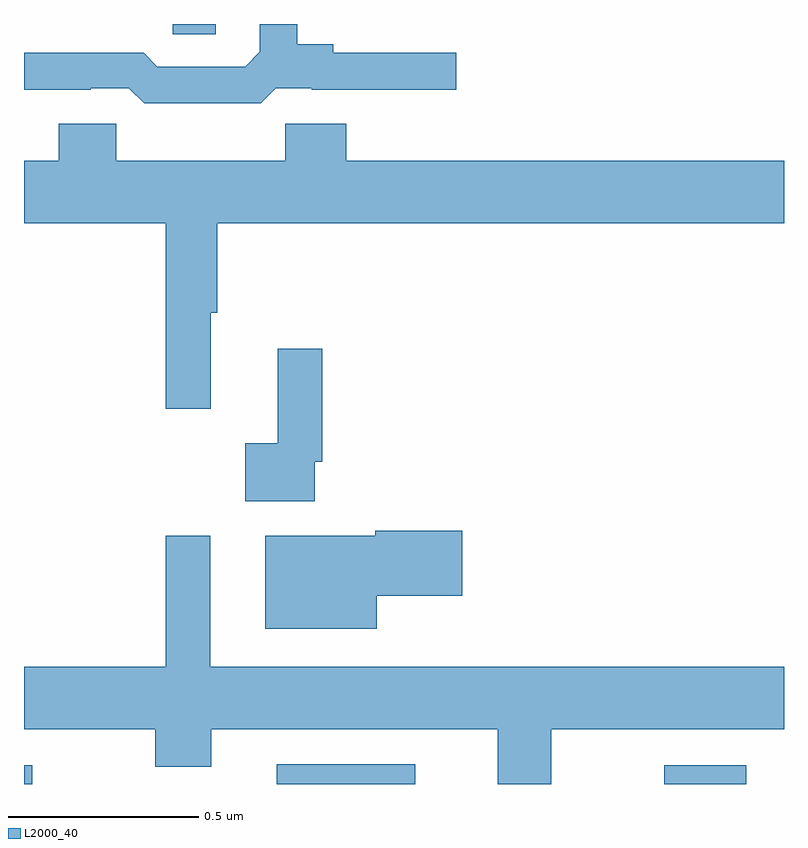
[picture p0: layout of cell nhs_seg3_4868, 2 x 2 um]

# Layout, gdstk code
import gdstk
lib = gdstk.Library(unit=1e-6, precision=1e-09)
def R(c, l, rs):  # rectangles x0, y0, x1, y1
    for r in rs: c.add(gdstk.rectangle(r[:2], r[2:], *l))
def P(c, l, *ps):  # polygons
    for p in ps: c.add(gdstk.Polygon(p, *l))
L2000_40 = (2000, 40)

nhs_seg3_4868 = lib.new_cell('nhs_seg3_4868')
R(nhs_seg3_4868, L2000_40, [(171,739.4,171.022,739.449), (171.665,739.4,172.03,739.452), (172.685,739.4,172.9,739.449), (171.392,741.373,171.504,741.4)])
P(nhs_seg3_4868, L2000_40, [(171.663,741.231),(171.757,741.231),(171.757,741.227),(172.138,741.227),(172.138,741.324),(171.814,741.324),(171.814,741.347),(171.719,741.347),(171.719,741.4),(171.621,741.4),(171.621,741.327),(171.582,741.288),(171.351,741.288),(171.315,741.324),(171,741.324),(171,741.227),(171.176,741.227),(171.176,741.231),(171.276,741.231),(171.316,741.192),(171.623,741.192)],
  [(171.491,740.64),(171.509,740.64),(171.509,740.876),(173,740.876),(173,741.04),(171.848,741.04),(171.848,741.138),(171.688,741.138),(171.688,741.04),(171.243,741.04),(171.243,741.138),(171.092,741.138),(171.092,741.04),(171,741.04),(171,740.876),(171.373,740.876),(171.373,740.388),(171.491,740.388)],
  [(171.765,740.248),(171.785,740.248),(171.785,740.545),(171.668,740.545),(171.668,740.297),(171.582,740.297),(171.582,740.144),(171.765,740.144)],
  [(171.928,739.895),(172.153,739.895),(172.153,740.066),(171.924,740.066),(171.924,740.053),(171.635,740.053),(171.635,739.808),(171.928,739.808)],
  [(172.387,739.544),(173,739.544),(173,739.708),(171.49,739.708),(171.49,740.053),(171.373,740.053),(171.373,739.708),(171,739.708),(171,739.544),(171.346,739.544),(171.346,739.445),(171.493,739.445),(171.493,739.544),(172.247,739.544),(172.247,739.4),(172.387,739.4)])

lib.write_gds('nhs_seg3_4868.gds')
